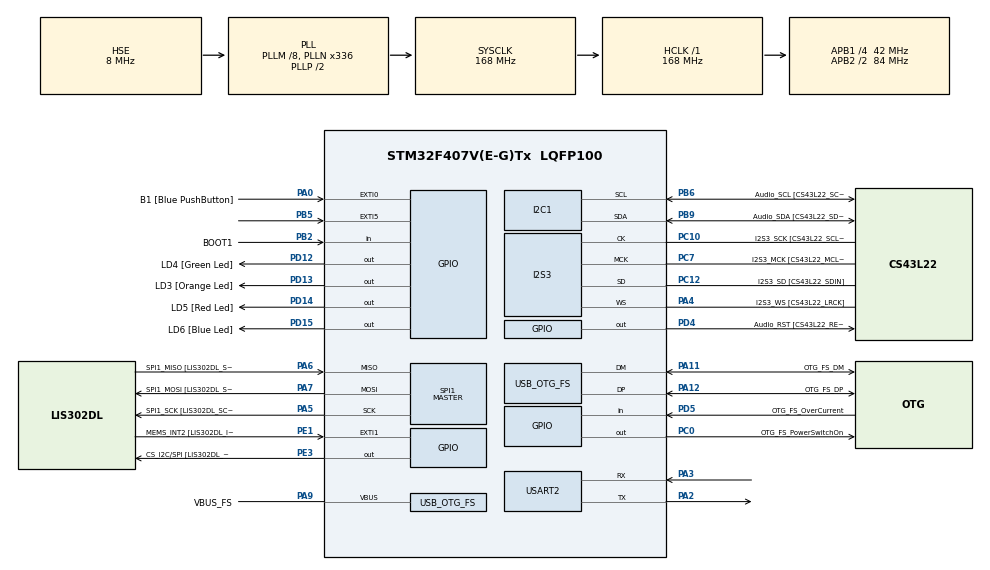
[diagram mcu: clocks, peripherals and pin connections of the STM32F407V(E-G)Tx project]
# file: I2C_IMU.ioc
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Dma.I2C1_RX.0.Direction=DMA_PERIPH_TO_MEMORY
Dma.I2C1_RX.0.FIFOMode=DMA_FIFOMODE_DISABLE
Dma.I2C1_RX.0.Instance=DMA1_Stream0
Dma.I2C1_RX.0.MemDataAlignment=DMA_MDATAALIGN_BYTE
Dma.I2C1_RX.0.MemInc=DMA_MINC_ENABLE
Dma.I2C1_RX.0.Mode=DMA_NORMAL
Dma.I2C1_RX.0.PeriphDataAlignment=DMA_PDATAALIGN_BYTE
Dma.I2C1_RX.0.PeriphInc=DMA_PINC_DISABLE
Dma.I2C1_RX.0.Priority=DMA_PRIORITY_LOW
Dma.Request0=I2C1_RX
Dma.Request1=USART2_TX
Dma.USART2_TX.1.Direction=DMA_MEMORY_TO_PERIPH
Dma.USART2_TX.1.FIFOMode=DMA_FIFOMODE_DISABLE
Dma.USART2_TX.1.Instance=DMA1_Stream6
Dma.USART2_TX.1.MemDataAlignment=DMA_MDATAALIGN_BYTE
Dma.USART2_TX.1.MemInc=DMA_MINC_ENABLE
Dma.USART2_TX.1.Mode=DMA_NORMAL
Dma.USART2_TX.1.PeriphDataAlignment=DMA_PDATAALIGN_BYTE
Dma.USART2_TX.1.PeriphInc=DMA_PINC_DISABLE
Dma.USART2_TX.1.Priority=DMA_PRIORITY_LOW
I2C1.I2C_Mode=I2C_Fast
I2S3.AudioFreq-Half_Duplex_Master=I2S_AUDIOFREQ_96K
I2S3.ErrorAudioFreq=-2.34 %
I2S3.ErrorAudioFreq-Half_Duplex_Master=0.8 %
I2S3.FullDuplexMode=I2S_FULLDUPLEXMODE_DISABLE
I2S3.Instance=SPI$Index
I2S3.RealAudioFreq=93.75 KHz
I2S3.RealAudioFreq-Half_Duplex_Master=96.774 KHz
I2S3.VirtualMode=I2S_MODE_MASTER
Mcu.Family=STM32F4
Mcu.Name=STM32F407V(E-G)Tx
Mcu.Package=LQFP100
NVIC.DMA1_Stream0_IRQn=true\:0\:0\:false\:false\:true\:false\:true\:true
NVIC.DMA1_Stream6_IRQn=true\:0\:0\:false\:false\:true\:false\:true\:true
NVIC.EXTI9_5_IRQn=true\:0\:0\:false\:false\:true\:true\:true\:true
NVIC.I2C1_ER_IRQn=true\:0\:0\:false\:false\:true\:true\:true\:true
NVIC.I2C1_EV_IRQn=true\:0\:0\:false\:false\:true\:true\:true\:true
NVIC.OTG_FS_IRQn=true\:0\:0\:false\:false\:true\:true\:true\:true
NVIC.PriorityGroup=NVIC_PRIORITYGROUP_0
NVIC.USART2_IRQn=true\:0\:0\:false\:false\:true\:true\:true\:true
PA0-WKUP.GPIO_Label=B1 [Blue PushButton]
PA0-WKUP.GPIO_ModeDefaultEXTI=GPIO_MODE_EVT_RISING
PA0-WKUP.GPIO_PuPd=GPIO_NOPULL
PA0-WKUP.Signal=GPXTI0
PA10.GPIO_Label=OTG_FS_ID
PA10.GPIO_Mode=GPIO_MODE_AF_PP
PA10.GPIO_PuPd=GPIO_NOPULL
PA10.GPIO_Speed=GPIO_SPEED_FREQ_LOW
PA10.Signal=USB_OTG_FS_ID
PA11.GPIO_Label=OTG_FS_DM
PA11.GPIO_Mode=GPIO_MODE_AF_PP
PA11.GPIO_PuPd=GPIO_NOPULL
PA11.GPIO_Speed=GPIO_SPEED_FREQ_LOW
PA11.Mode=Host_Only
PA11.Signal=USB_OTG_FS_DM
PA12.GPIO_Label=OTG_FS_DP
PA12.GPIO_Mode=GPIO_MODE_AF_PP
PA12.GPIO_PuPd=GPIO_NOPULL
PA12.GPIO_Speed=GPIO_SPEED_FREQ_LOW
PA12.Mode=Host_Only
PA12.Signal=USB_OTG_FS_DP
PA13.GPIO_Label=SWDIO
PA13.Mode=Serial_Wire
PA13.Signal=SYS_JTMS-SWDIO
PA14.GPIO_Label=SWCLK
PA14.Mode=Serial_Wire
PA14.Signal=SYS_JTCK-SWCLK
PA2.Mode=Asynchronous
PA2.Signal=USART2_TX
PA3.Mode=Asynchronous
PA3.Signal=USART2_RX
PA4.GPIO_Label=I2S3_WS [CS43L22_LRCK]
PA4.GPIO_Mode=GPIO_MODE_AF_PP
PA4.GPIO_PuPd=GPIO_NOPULL
PA4.GPIO_Speed=GPIO_SPEED_FREQ_LOW
PA4.Mode=Half_Duplex_Master
PA4.Signal=I2S3_WS
PA5.GPIO_Label=SPI1_SCK [LIS302DL_SCL/SPC]
PA5.GPIO_Mode=GPIO_MODE_AF_PP
PA5.GPIO_PuPd=GPIO_NOPULL
PA5.GPIO_Speed=GPIO_SPEED_FREQ_LOW
PA5.Mode=Full_Duplex_Master
PA5.Signal=SPI1_SCK
PA6.GPIO_Label=SPI1_MISO [LIS302DL_SDO]
PA6.GPIO_Mode=GPIO_MODE_AF_PP
PA6.GPIO_PuPd=GPIO_NOPULL
PA6.GPIO_Speed=GPIO_SPEED_FREQ_LOW
PA6.Mode=Full_Duplex_Master
PA6.Signal=SPI1_MISO
PA7.GPIO_Label=SPI1_MOSI [LIS302DL_SDA/SDI/SDO]
PA7.GPIO_Mode=GPIO_MODE_AF_PP
PA7.GPIO_PuPd=GPIO_NOPULL
PA7.GPIO_Speed=GPIO_SPEED_FREQ_LOW
PA7.Mode=Full_Duplex_Master
PA7.Signal=SPI1_MOSI
PA9.GPIO_Label=VBUS_FS
PA9.GPIO_Mode=GPIO_MODE_INPUT
PA9.GPIO_PuPd=GPIO_NOPULL
PA9.Mode=Activate_VBUS
PA9.Signal=USB_OTG_FS_VBUS
PB10.GPIO_Label=CLK_IN [MP45DT02_CLK]
PB10.GPIO_Mode=GPIO_MODE_AF_PP
PB10.GPIO_PuPd=GPIO_NOPULL
PB10.GPIO_Speed=GPIO_SPEED_FREQ_LOW
PB10.Signal=I2S2_CK
PB2.GPIO_Label=BOOT1
PB2.GPIO_Mode=GPIO_MODE_INPUT
PB2.GPIO_PuPd=GPIO_NOPULL
PB2.Signal=GPIO_Input
PB3.GPIO_Label=SWO
PB3.Signal=SYS_JTDO-SWO
PB5.Signal=GPXTI5
PB6.GPIO_Label=Audio_SCL [CS43L22_SCL]
PB6.GPIO_Mode=GPIO_MODE_AF_OD
PB6.GPIO_Pu=GPIO_PULLUP
PB6.GPIO_PuPd=GPIO_NOPULL
PB6.GPIO_Speed=GPIO_SPEED_FREQ_LOW
PB6.Mode=I2C
PB6.Signal=I2C1_SCL
PB9.GPIO_Label=Audio_SDA [CS43L22_SDA]
PB9.GPIO_Mode=GPIO_MODE_AF_OD
PB9.GPIO_Pu=GPIO_PULLUP
PB9.GPIO_PuPd=GPIO_NOPULL
PB9.GPIO_Speed=GPIO_SPEED_FREQ_LOW
PB9.Mode=I2C
PB9.Signal=I2C1_SDA
PC0.GPIO_Label=OTG_FS_PowerSwitchOn
PC0.GPIO_PuPd=GPIO_NOPULL
PC0.GPIO_Speed=GPIO_SPEED_FREQ_LOW
PC0.PinState=GPIO_PIN_SET
PC0.Signal=GPIO_Output
PC10.GPIO_Label=I2S3_SCK [CS43L22_SCLK]
PC10.GPIO_Mode=GPIO_MODE_AF_PP
PC10.GPIO_PuPd=GPIO_NOPULL
PC10.GPIO_Speed=GPIO_SPEED_FREQ_LOW
PC10.Mode=Half_Duplex_Master
PC10.Signal=I2S3_CK
PC12.GPIO_Label=I2S3_SD [CS43L22_SDIN]
PC12.GPIO_Mode=GPIO_MODE_AF_PP
PC12.GPIO_PuPd=GPIO_NOPULL
PC12.GPIO_Speed=GPIO_SPEED_FREQ_LOW
PC12.Mode=Half_Duplex_Master
PC12.Signal=I2S3_SD
PC14-OSC32_IN.GPIO_Label=PC14-OSC32_IN
PC14-OSC32_IN.Mode=LSE-External-Oscillator
PC14-OSC32_IN.Signal=RCC_OSC32_IN
PC15-OSC32_OUT.GPIO_Label=PC15-OSC32_OUT
PC15-OSC32_OUT.Mode=LSE-External-Oscillator
PC15-OSC32_OUT.Signal=RCC_OSC32_OUT
PC3.GPIO_Label=PDM_OUT [MP45DT02_DOUT]
PC3.GPIO_Mode=GPIO_MODE_AF_PP
PC3.GPIO_PuPd=GPIO_NOPULL
PC3.GPIO_Speed=GPIO_SPEED_FREQ_LOW
PC3.Signal=I2S2_SD
PC7.GPIO_Label=I2S3_MCK [CS43L22_MCLK]
PC7.GPIO_Mode=GPIO_MODE_AF_PP
PC7.GPIO_PuPd=GPIO_NOPULL
PC7.GPIO_Speed=GPIO_SPEED_FREQ_LOW
PC7.Mode=Master_Clock_Activated
PC7.Signal=I2S3_MCK
PD12.GPIO_Label=LD4 [Green Led]
PD12.GPIO_PuPd=GPIO_NOPULL
PD12.GPIO_Speed=GPIO_SPEED_FREQ_LOW
PD12.Signal=GPIO_Output
PD13.GPIO_Label=LD3 [Orange Led]
PD13.GPIO_PuPd=GPIO_NOPULL
PD13.GPIO_Speed=GPIO_SPEED_FREQ_LOW
PD13.Signal=GPIO_Output
PD14.GPIO_Label=LD5 [Red Led]
PD14.GPIO_PuPd=GPIO_NOPULL
PD14.GPIO_Speed=GPIO_SPEED_FREQ_LOW
PD14.Signal=GPIO_Output
PD15.GPIO_Label=LD6 [Blue Led]
PD15.GPIO_PuPd=GPIO_NOPULL
PD15.GPIO_Speed=GPIO_SPEED_FREQ_LOW
PD15.Signal=GPIO_Output
PD4.GPIO_Label=Audio_RST [CS43L22_RESET]
PD4.GPIO_PuPd=GPIO_NOPULL
PD4.GPIO_Speed=GPIO_SPEED_FREQ_LOW
PD4.Signal=GPIO_Output
PD5.GPIO_Label=OTG_FS_OverCurrent
PD5.GPIO_Mode=GPIO_MODE_INPUT
PD5.GPIO_PuPd=GPIO_NOPULL
PD5.Signal=GPIO_Input
PE1.GPIO_Label=MEMS_INT2 [LIS302DL_INT2]
PE1.GPIO_ModeDefaultEXTI=GPIO_MODE_EVT_RISING
PE1.GPIO_PuPd=GPIO_NOPULL
PE1.Signal=GPXTI1
PE3.GPIO_Label=CS_I2C/SPI [LIS302DL_CS_I2C/SPI]
PE3.GPIO_PuPd=GPIO_NOPULL
PE3.GPIO_Speed=GPIO_SPEED_FREQ_LOW
PE3.Signal=GPIO_Output
PH0-OSC_IN.GPIO_Label=PH0-OSC_IN
PH0-OSC_IN.Mode=HSE-External-Oscillator
PH0-OSC_IN.Signal=RCC_OSC_IN
PH1-OSC_OUT.GPIO_Label=PH1-OSC_OUT
PH1-OSC_OUT.Mode=HSE-External-Oscillator
PH1-OSC_OUT.Signal=RCC_OSC_OUT
ProjectManager.HeapSize=0x200
ProjectManager.StackSize=0x400
ProjectManager.TargetToolchain=STM32CubeIDE
RCC.48MHZClocksFreq_Value=48000000
RCC.AHBFreq_Value=168000000
RCC.APB1CLKDivider=RCC_HCLK_DIV4
RCC.APB1Freq_Value=42000000
RCC.APB1TimFreq_Value=84000000
RCC.APB2CLKDivider=RCC_HCLK_DIV2
RCC.APB2Freq_Value=84000000
RCC.APB2TimFreq_Value=168000000
RCC.CortexFreq_Value=168000000
RCC.HCLKFreq_Value=168000000
RCC.HSE_VALUE=8000000
RCC.HSI_VALUE=16000000
RCC.PLLM=8
RCC.PLLN=336
RCC.PLLQ=7
RCC.SYSCLKFreq_VALUE=168000000
RCC.SYSCLKSource=RCC_SYSCLKSOURCE_PLLCLK
RCC.VCOOutputFreq_Value=336000000
SPI1.BaudRatePrescaler-Full_Duplex_Master=SPI_BAUDRATEPRESCALER_2
SPI1.CalculateBaudRate-Full_Duplex_Master=42.0 MBits/s
SPI1.Direction=SPI_DIRECTION_2LINES
SPI1.Mode=SPI_MODE_MASTER
SPI1.Mode-Full_Duplex_Master=SPI_MODE_MASTER
SPI1.VirtualType=VM_MASTER
USART2.VirtualMode=VM_ASYNC
USB_HOST.BSP.number=1
USB_HOST.USBH_HandleTypeDef-CDC_FS=hUsbHostFS
USB_HOST.VirtualModeFS=Cdc
USB_HOST0.BSP.STBoard=false
USB_HOST0.BSP.api=Unknown
USB_HOST0.BSP.instance=PC0
USB_HOST0.BSP.ip=GPIO
USB_HOST0.BSP.mode=Output
USB_HOST0.BSP.name=Drive_VBUS_FS
USB_HOST0.BSP.solution=PC0
USB_OTG_FS.VirtualMode=Host_Only
USB_OTG_FS.phy_itface=HCD_PHY_EMBEDDED
VP_USB_HOST_VS_USB_HOST_CDC_FS.Mode=CDC_FS
board=STM32F407G-DISC1

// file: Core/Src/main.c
/* USER CODE BEGIN Header */
/**
  ******************************************************************************
  * @file           : main.c
  * @brief          : Main program body
  ******************************************************************************
  * @attention
  *
  * Copyright (c) 2026 STMicroelectronics.
  * All rights reserved.
  *
  * This software is licensed under terms that can be found in the LICENSE file
  * in the root directory of this software component.
  * If no LICENSE file comes with this software, it is provided AS-IS.
  *
  ******************************************************************************
  */
/* USER CODE END Header */
#include "main.h"
#include "usb_host.h"

/* USER CODE BEGIN Includes */
#include <string.h> // strlen fonksiyonu için
#include <stdio.h>  // sprintf fonksiyonu için
#include "MPU9250-DMP.h"
/* USER CODE END Includes */

I2C_HandleTypeDef hi2c1;
DMA_HandleTypeDef hdma_i2c1_rx;

I2S_HandleTypeDef hi2s3;

SPI_HandleTypeDef hspi1;

UART_HandleTypeDef huart2;
DMA_HandleTypeDef hdma_usart2_tx;

/* USER CODE BEGIN PV */
// MPU-9255 DMP FIFO'sundan gelecek veriyi tutacak I2C DMA tamponu
#define DMP_PACKET_SIZE 28
uint8_t i2c_dma_buf[DMP_PACKET_SIZE];
// Bilgisayara fırlatılacak metni tutacak UART DMA tamponu 64
char uart_dma_buf[64];

// Açıları tutacağımız değişkenler
float pitch = 0.0f, roll = 0.0f, yaw = 0.0f;
uint8_t trigger = 0;
/* USER CODE END PV */

void SystemClock_Config(void);
static void MX_GPIO_Init(void);
static void MX_DMA_Init(void);
static void MX_I2C1_Init(void);
static void MX_I2S3_Init(void);
static void MX_SPI1_Init(void);
static void MX_USART2_UART_Init(void);
void MX_USB_HOST_Process(void);

int main(void)
{

  /* MCU Configuration--------------------------------------------------------*/

  /* Reset of all peripherals, Initializes the Flash interface and the Systick. */
  HAL_Init();

  /* Configure the system clock */
  SystemClock_Config();

  /* Initialize all configured peripherals */
  MX_GPIO_Init();
  MX_DMA_Init();
  MX_I2C1_Init();
  MX_I2S3_Init();
  MX_SPI1_Init();
  MX_USART2_UART_Init();
  MX_USB_HOST_Init();
  /* USER CODE BEGIN 2 */
  // 1. Sensörün I2C hattında olup olmadığını kontrol et ve uyandır
    if (MPU9250_begin() != INV_SUCCESS) {
        // Sensör bulunamadıysa veya I2C hatası varsa buraya düşer.
        // Hata ayıklama için bir LED yakabilirsin.
    }

    // 2. DMP Firmware'ini yükle, 6 eksen Quaternion hesaplamayı aç ve FIFO'yu 100Hz'e ayarla
    if (MPU9250_dmpBegin(DMP_FEATURE_6X_LP_QUAT | DMP_FEATURE_SEND_RAW_ACCEL | DMP_FEATURE_SEND_CAL_GYRO, 100) != INV_SUCCESS) {
        // DMP başlatılamadıysa buraya düşer.
    }

    // 3. Sensör yeni veri hesapladığında INT pininden sinyal göndersin (Senin EXTI için kritik)
    MPU9250_enableInterrupt(1);
  // Sensör I2C adresini belirle (AD0 pini GND'de ise 0x68'dir, STM32 sola kaydırılmış 0xD0 bekler)
  #define MPU9255_ADDR (0x68 << 1)

  // Orkestra Şefi'nin boşta kalacağı o muazzam döngüye girmeden önce her şey hazır!
  /* USER CODE END 2 */

  /* Infinite loop */
  while (1)
  {
    MX_USB_HOST_Process();

  }
}

void SystemClock_Config(void)
{
  RCC_OscInitTypeDef RCC_OscInitStruct = {0};
  RCC_ClkInitTypeDef RCC_ClkInitStruct = {0};

  /** Configure the main internal regulator output voltage
  */
  __HAL_RCC_PWR_CLK_ENABLE();
  __HAL_PWR_VOLTAGESCALING_CONFIG(PWR_REGULATOR_VOLTAGE_SCALE1);

  /** Initializes the RCC Oscillators according to the specified parameters
  * in the RCC_OscInitTypeDef structure.
  */
  RCC_OscInitStruct.OscillatorType = RCC_OSCILLATORTYPE_HSE;
  RCC_OscInitStruct.HSEState = RCC_HSE_ON;
  RCC_OscInitStruct.PLL.PLLState = RCC_PLL_ON;
  RCC_OscInitStruct.PLL.PLLSource = RCC_PLLSOURCE_HSE;
  RCC_OscInitStruct.PLL.PLLM = 8;
  RCC_OscInitStruct.PLL.PLLN = 336;
  RCC_OscInitStruct.PLL.PLLP = RCC_PLLP_DIV2;
  RCC_OscInitStruct.PLL.PLLQ = 7;
  if (HAL_RCC_OscConfig(&RCC_OscInitStruct) != HAL_OK)
  {
    Error_Handler();
  }

  /** Initializes the CPU, AHB and APB buses clocks
  */
  RCC_ClkInitStruct.ClockType = RCC_CLOCKTYPE_HCLK|RCC_CLOCKTYPE_SYSCLK
                              |RCC_CLOCKTYPE_PCLK1|RCC_CLOCKTYPE_PCLK2;
  RCC_ClkInitStruct.SYSCLKSource = RCC_SYSCLKSOURCE_PLLCLK;
  RCC_ClkInitStruct.AHBCLKDivider = RCC_SYSCLK_DIV1;
  RCC_ClkInitStruct.APB1CLKDivider = RCC_HCLK_DIV4;
  RCC_ClkInitStruct.APB2CLKDivider = RCC_HCLK_DIV2;

  if (HAL_RCC_ClockConfig(&RCC_ClkInitStruct, FLASH_LATENCY_5) != HAL_OK)
  {
    Error_Handler();
  }
}

static void MX_I2C1_Init(void)
{

  hi2c1.Instance = I2C1;
  hi2c1.Init.ClockSpeed = 400000;
  hi2c1.Init.DutyCycle = I2C_DUTYCYCLE_2;
  hi2c1.Init.OwnAddress1 = 0;
  hi2c1.Init.AddressingMode = I2C_ADDRESSINGMODE_7BIT;
  hi2c1.Init.DualAddressMode = I2C_DUALADDRESS_DISABLE;
  hi2c1.Init.OwnAddress2 = 0;
  hi2c1.Init.GeneralCallMode = I2C_GENERALCALL_DISABLE;
  hi2c1.Init.NoStretchMode = I2C_NOSTRETCH_DISABLE;
  if (HAL_I2C_Init(&hi2c1) != HAL_OK)
  {
    Error_Handler();
  }

}

static void MX_I2S3_Init(void)
{

  hi2s3.Instance = SPI3;
  hi2s3.Init.Mode = I2S_MODE_MASTER_TX;
  hi2s3.Init.Standard = I2S_STANDARD_PHILIPS;
  hi2s3.Init.DataFormat = I2S_DATAFORMAT_16B;
  hi2s3.Init.MCLKOutput = I2S_MCLKOUTPUT_ENABLE;
  hi2s3.Init.AudioFreq = I2S_AUDIOFREQ_96K;
  hi2s3.Init.CPOL = I2S_CPOL_LOW;
  hi2s3.Init.ClockSource = I2S_CLOCK_PLL;
  hi2s3.Init.FullDuplexMode = I2S_FULLDUPLEXMODE_DISABLE;
  if (HAL_I2S_Init(&hi2s3) != HAL_OK)
  {
    Error_Handler();
  }

}

static void MX_SPI1_Init(void)
{

  /* SPI1 parameter configuration*/
  hspi1.Instance = SPI1;
  hspi1.Init.Mode = SPI_MODE_MASTER;
  hspi1.Init.Direction = SPI_DIRECTION_2LINES;
  hspi1.Init.DataSize = SPI_DATASIZE_8BIT;
  hspi1.Init.CLKPolarity = SPI_POLARITY_LOW;
  hspi1.Init.CLKPhase = SPI_PHASE_1EDGE;
  hspi1.Init.NSS = SPI_NSS_SOFT;
  hspi1.Init.BaudRatePrescaler = SPI_BAUDRATEPRESCALER_2;
  hspi1.Init.FirstBit = SPI_FIRSTBIT_MSB;
  hspi1.Init.TIMode = SPI_TIMODE_DISABLE;
  hspi1.Init.CRCCalculation = SPI_CRCCALCULATION_DISABLE;
  hspi1.Init.CRCPolynomial = 10;
  if (HAL_SPI_Init(&hspi1) != HAL_OK)
  {
    Error_Handler();
  }

}

static void MX_USART2_UART_Init(void)
{

  huart2.Instance = USART2;
  huart2.Init.BaudRate = 115200;
  huart2.Init.WordLength = UART_WORDLENGTH_8B;
  huart2.Init.StopBits = UART_STOPBITS_1;
  huart2.Init.Parity = UART_PARITY_NONE;
  huart2.Init.Mode = UART_MODE_TX_RX;
  huart2.Init.HwFlowCtl = UART_HWCONTROL_NONE;
  huart2.Init.OverSampling = UART_OVERSAMPLING_16;
  if (HAL_UART_Init(&huart2) != HAL_OK)
  {
    Error_Handler();
  }

}

static void MX_DMA_Init(void)
{

  /* DMA controller clock enable */
  __HAL_RCC_DMA1_CLK_ENABLE();

  /* DMA interrupt init */
  /* DMA1_Stream0_IRQn interrupt configuration */
  HAL_NVIC_SetPriority(DMA1_Stream0_IRQn, 0, 0);
  HAL_NVIC_EnableIRQ(DMA1_Stream0_IRQn);
  /* DMA1_Stream6_IRQn interrupt configuration */
  HAL_NVIC_SetPriority(DMA1_Stream6_IRQn, 0, 0);
  HAL_NVIC_EnableIRQ(DMA1_Stream6_IRQn);

}

static void MX_GPIO_Init(void)
{
  GPIO_InitTypeDef GPIO_InitStruct = {0};

  /* GPIO Ports Clock Enable */
  __HAL_RCC_GPIOE_CLK_ENABLE();
  __HAL_RCC_GPIOC_CLK_ENABLE();
  __HAL_RCC_GPIOH_CLK_ENABLE();
  __HAL_RCC_GPIOA_CLK_ENABLE();
  __HAL_RCC_GPIOB_CLK_ENABLE();
  __HAL_RCC_GPIOD_CLK_ENABLE();

  /*Configure GPIO pin Output Level */
  HAL_GPIO_WritePin(CS_I2C_SPI_GPIO_Port, CS_I2C_SPI_Pin, GPIO_PIN_RESET);

  /*Configure GPIO pin Output Level */
  HAL_GPIO_WritePin(OTG_FS_PowerSwitchOn_GPIO_Port, OTG_FS_PowerSwitchOn_Pin, GPIO_PIN_SET);

  /*Configure GPIO pin Output Level */
  HAL_GPIO_WritePin(GPIOD, LD4_Pin|LD3_Pin|LD5_Pin|LD6_Pin
                          |Audio_RST_Pin, GPIO_PIN_RESET);

  /*Configure GPIO pin : CS_I2C_SPI_Pin */
  GPIO_InitStruct.Pin = CS_I2C_SPI_Pin;
  GPIO_InitStruct.Mode = GPIO_MODE_OUTPUT_PP;
  GPIO_InitStruct.Pull = GPIO_NOPULL;
  GPIO_InitStruct.Speed = GPIO_SPEED_FREQ_LOW;
  HAL_GPIO_Init(CS_I2C_SPI_GPIO_Port, &GPIO_InitStruct);

  /*Configure GPIO pin : OTG_FS_PowerSwitchOn_Pin */
  GPIO_InitStruct.Pin = OTG_FS_PowerSwitchOn_Pin;
  GPIO_InitStruct.Mode = GPIO_MODE_OUTPUT_PP;
  GPIO_InitStruct.Pull = GPIO_NOPULL;
  GPIO_InitStruct.Speed = GPIO_SPEED_FREQ_LOW;
  HAL_GPIO_Init(OTG_FS_PowerSwitchOn_GPIO_Port, &GPIO_InitStruct);

  /*Configure GPIO pin : PDM_OUT_Pin */
  GPIO_InitStruct.Pin = PDM_OUT_Pin;
  GPIO_InitStruct.Mode = GPIO_MODE_AF_PP;
  GPIO_InitStruct.Pull = GPIO_NOPULL;
  GPIO_InitStruct.Speed = GPIO_SPEED_FREQ_LOW;
  GPIO_InitStruct.Alternate = GPIO_AF5_SPI2;
  HAL_GPIO_Init(PDM_OUT_GPIO_Port, &GPIO_InitStruct);

  /*Configure GPIO pin : B1_Pin */
  GPIO_InitStruct.Pin = B1_Pin;
  GPIO_InitStruct.Mode = GPIO_MODE_EVT_RISING;
  GPIO_InitStruct.Pull = GPIO_NOPULL;
  HAL_GPIO_Init(B1_GPIO_Port, &GPIO_InitStruct);

  /*Configure GPIO pin : BOOT1_Pin */
  GPIO_InitStruct.Pin = BOOT1_Pin;
  GPIO_InitStruct.Mode = GPIO_MODE_INPUT;
  GPIO_InitStruct.Pull = GPIO_NOPULL;
  HAL_GPIO_Init(BOOT1_GPIO_Port, &GPIO_InitStruct);

  /*Configure GPIO pin : CLK_IN_Pin */
  GPIO_InitStruct.Pin = CLK_IN_Pin;
  GPIO_InitStruct.Mode = GPIO_MODE_AF_PP;
  GPIO_InitStruct.Pull = GPIO_NOPULL;
  GPIO_InitStruct.Speed = GPIO_SPEED_FREQ_LOW;
  GPIO_InitStruct.Alternate = GPIO_AF5_SPI2;
  HAL_GPIO_Init(CLK_IN_GPIO_Port, &GPIO_InitStruct);

  /*Configure GPIO pins : LD4_Pin LD3_Pin LD5_Pin LD6_Pin
                           Audio_RST_Pin */
  GPIO_InitStruct.Pin = LD4_Pin|LD3_Pin|LD5_Pin|LD6_Pin
                          |Audio_RST_Pin;
  GPIO_InitStruct.Mode = GPIO_MODE_OUTPUT_PP;
  GPIO_InitStruct.Pull = GPIO_NOPULL;
  GPIO_InitStruct.Speed = GPIO_SPEED_FREQ_LOW;
  HAL_GPIO_Init(GPIOD, &GPIO_InitStruct);

  /*Configure GPIO pin : OTG_FS_OverCurrent_Pin */
  GPIO_InitStruct.Pin = OTG_FS_OverCurrent_Pin;
  GPIO_InitStruct.Mode = GPIO_MODE_INPUT;
  GPIO_InitStruct.Pull = GPIO_NOPULL;
  HAL_GPIO_Init(OTG_FS_OverCurrent_GPIO_Port, &GPIO_InitStruct);

  /*Configure GPIO pin : PB5 */
  GPIO_InitStruct.Pin = GPIO_PIN_5;
  GPIO_InitStruct.Mode = GPIO_MODE_IT_RISING;
  GPIO_InitStruct.Pull = GPIO_NOPULL;
  HAL_GPIO_Init(GPIOB, &GPIO_InitStruct);

  /*Configure GPIO pin : MEMS_INT2_Pin */
  GPIO_InitStruct.Pin = MEMS_INT2_Pin;
  GPIO_InitStruct.Mode = GPIO_MODE_EVT_RISING;
  GPIO_InitStruct.Pull = GPIO_NOPULL;
  HAL_GPIO_Init(MEMS_INT2_GPIO_Port, &GPIO_InitStruct);

  /* EXTI interrupt init*/
  HAL_NVIC_SetPriority(EXTI9_5_IRQn, 0, 0);
  HAL_NVIC_EnableIRQ(EXTI9_5_IRQn);

}

/* USER CODE BEGIN 4 */
// 1. HALKA: Sensör "Veri Hazır" dediğinde çalışır
void HAL_GPIO_EXTI_Callback(uint16_t GPIO_Pin)
{
    // Sensörün INT pininin bağlı olduğu PB5 pinini kontrol et
    if(GPIO_Pin == GPIO_PIN_5)
    {
        // ŞEFİN KOMUTU: I2C DMA'yı tetikle, 0x74 (FIFO_R_W) adresindeki 28 baytı RAM'e çek!
        HAL_I2C_Mem_Read_DMA(&hi2c1, MPU9255_ADDR, 0x74, 1, i2c_dma_buf, DMP_PACKET_SIZE);
    }
}

// 2. HALKA: I2C DMA veriyi RAM'e başarıyla indirdiğinde çalışır
void HAL_I2C_MemRxCpltCallback(I2C_HandleTypeDef *hi2c)
{
    if(hi2c->Instance == I2C1)
    {
        // 1. ADIM: DMP'nin yolladığı paketin ilk 16 baytını birleştirip Quaternion (q) değerlerini oluştur
        qw = ((long)i2c_dma_buf[0] << 24) | ((long)i2c_dma_buf[1] << 16) | ((long)i2c_dma_buf[2] << 8) | i2c_dma_buf[3];
        qx = ((long)i2c_dma_buf[4] << 24) | ((long)i2c_dma_buf[5] << 16) | ((long)i2c_dma_buf[6] << 8) | i2c_dma_buf[7];
        qy = ((long)i2c_dma_buf[8] << 24) | ((long)i2c_dma_buf[9] << 16) | ((long)i2c_dma_buf[10] << 8) | i2c_dma_buf[11];
        qz = ((long)i2c_dma_buf[12] << 24) | ((long)i2c_dma_buf[13] << 16) | ((long)i2c_dma_buf[14] << 8) | i2c_dma_buf[15];

        // 2. ADIM: Kütüphanenin Euler Hesaplama fonksiyonunu çağır (true = sonucu derece cinsinden ver)
        MPU9250_computeEulerAngles(true);

        // 3. ADIM: Kütüphanenin hesapladığı gerçek açı değerlerini kendi değişkenlerimize al
        pitch = pitch_inside;
        roll = roll_inside;
        yaw = yaw_inside;

        // 4. ADIM: Gerçek açıları Bluetooth'un istediği metin formunda paketle
        sprintf(uart_dma_buf, "P:%.1f,R:%.1f,Y:%.1f,T:%d\n", pitch, roll, yaw, trigger);

        // ŞEFİN KOMUTU: UART DMA'yı tetikle, metni HC-06 Bluetooth üzerinden fırlat!
        HAL_UART_Transmit_DMA(&huart2, (uint8_t*)uart_dma_buf, strlen(uart_dma_buf));
    }
}
/* USER CODE END 4 */

void Error_Handler(void)
{
  __disable_irq();
  while (1)
  {
  }
}
